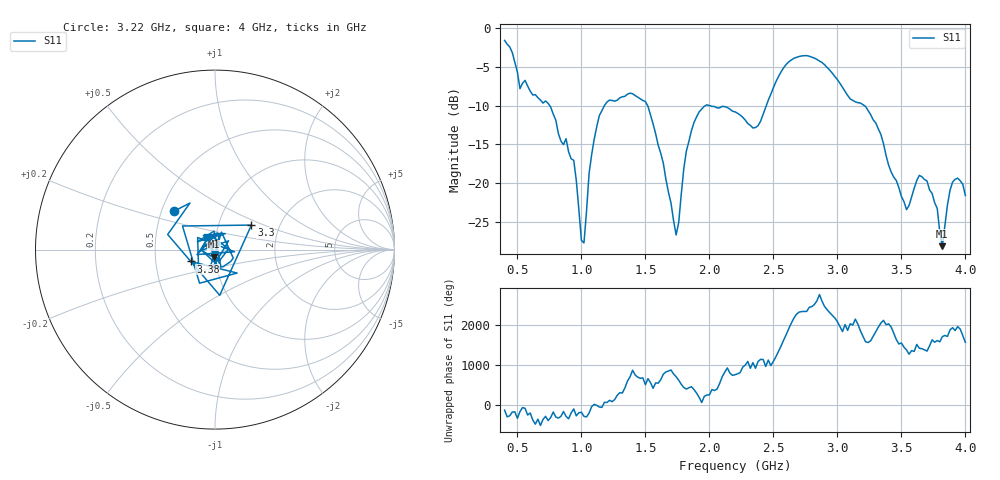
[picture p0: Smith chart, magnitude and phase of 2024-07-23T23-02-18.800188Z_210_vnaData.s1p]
!Created with skrf (http://scikit-rf.org).
# Hz S RI R 50.0
!freq ReS11 ImS11
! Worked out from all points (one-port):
!   181 points, 400 MHz to 4 GHz, reference 50 ohm
!   lowest |S11| = -28.2 dB at 3.82 GHz (marker M1), VSWR 1.08, Z = 49.5 - j3.86 ohm
!   |S11| at or under -10 dB: 1.518 GHz to 1.967 GHz (449.6 MHz wide, 25.8 % of centre); 2.004 GHz to 2.444 GHz (440.2 MHz wide, 19.8 % of centre); 3.212 GHz to end of sweep (the widest 3 of 4)
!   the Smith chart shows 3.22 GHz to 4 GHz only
!   S11 on the Smith chart (normalised r, x): 3.22 GHz: 0.58, +0.28; 3.3 GHz: 1.44, +0.42; 3.38 GHz: 0.75, -0.10; 4 GHz: 0.91, +0.13
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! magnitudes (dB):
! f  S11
! 400 MHz  -1.6
! 520 MHz  -7.8
! 740 MHz  -9.7
! 860 MHz  -15.0
! 940 MHz  -17.1
! 1 GHz  -27.4
! 1.02 GHz  -27.7
! 1.06 GHz  -18.8
! 1.14 GHz  -11.3
! 1.3 GHz  -9.0
! 1.52 GHz  -10.1
! 1.74 GHz  -26.7
! 1.76 GHz  -25.1
! 1.82 GHz  -15.9
! 1.9 GHz  -11.4
! 2.2 GHz  -10.8
! 2.38 GHz  -12.6
! 2.66 GHz  -3.9
! 3.1 GHz  -9.1
! 3.22 GHz  -10.1
! 3.3 GHz  -12.2
! 3.38 GHz  -16.4
! 3.56 GHz  -22.9
! 3.64 GHz  -19.0
! 3.7 GHz  -19.7
! 3.82 GHz  -28.2
! 3.9 GHz  -19.9
! 4 GHz  -21.6
